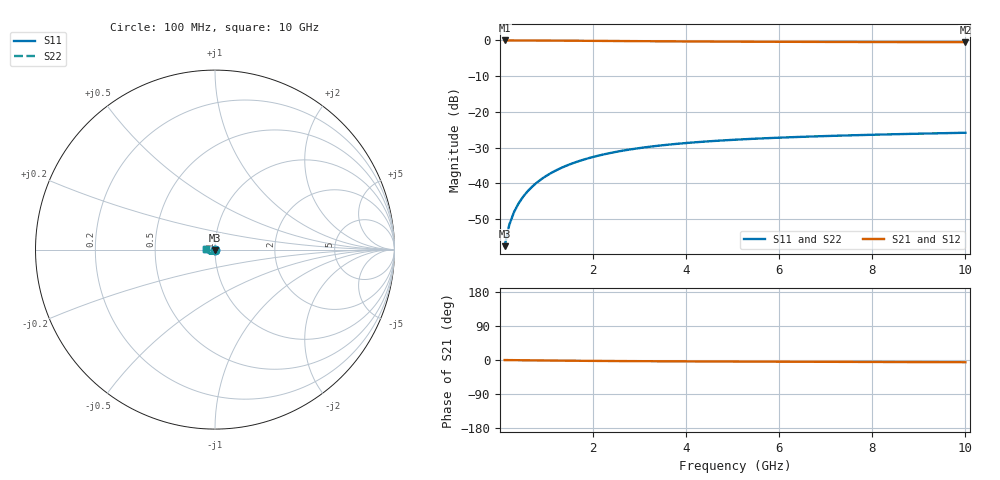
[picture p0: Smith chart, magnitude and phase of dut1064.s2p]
! Touchstone file exported from HFSS 2024.1.0
!  File:  C:/UserFiles/LocalFiles/RDL_TSV_Batchsim/temp_TSV1_1064_1780063885.aedt
!  Generated:  10:16:33 PM May 29, 2026
!  Design:  TSV1
!  Project:  temp_TSV1_1064_1780063885
!  Setup:  Setup1
!  Solution:  Sweep
! Variables:
!  dtsv = 9.43um
!  hbump = 3um
!  htsv = 93.49um
!  lrdl = 252.1521522um
!  p = 40
!  p1 = 48.96um
!  t = 500um
!  trdl = 3um
!  wrdl = 24.89489489um
# GHz S MA R 50.000000
! Terminal data exported
! Port[1] = TSV22_T1
! Port[2] = TSV22_T2
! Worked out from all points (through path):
!   100 points, 100 MHz to 10 GHz, reference 50 ohm
!   highest |S21| = 0.00 dB at 100 MHz (marker M1); lowest = -0.5 dB at 10 GHz (marker M2)
!   lowest |S11| = -57.5 dB at 100 MHz (marker M3), VSWR 1.00, Z = 50 - j0.132 ohm
!   |S11| at or under -10 dB: start of sweep to end of sweep
!   |S22| runs from -57.5 to -25.8 dB; largest |S21 - S12| = 9.2e-15
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0.1  0.001326 -83.9  0.9998 -0.1  0.9998 -0.1  0.001326 -83.9
! Gamma 0 0 0 0
! Port Impedance 50 0 50 0
0.2  0.002636 -89.5  0.9996 -0.3  0.9996 -0.3  0.002636 -89.5
0.3  0.003949 -92.5  0.9994 -0.4  0.9994 -0.4  0.003949 -92.5
0.4  0.005258 -94.9  0.9991 -0.5  0.9991 -0.5  0.005258 -94.9
0.5  0.006559 -97.0  0.9987 -0.7  0.9987 -0.7  0.006559 -97.0
0.6  0.007847 -99.1  0.9983 -0.8  0.9983 -0.8  0.007847 -99.1
0.7  0.00912 -101.0  0.9978 -0.9  0.9978 -0.9  0.00912 -101.0
0.8  0.01037 -102.9  0.9972 -1.1  0.9972 -1.1  0.01037 -102.9
0.9  0.01161 -104.7  0.9966 -1.2  0.9966 -1.2  0.01161 -104.7
1.1  0.01401 -108.3  0.9951 -1.4  0.9951 -1.4  0.01401 -108.3
1.4  0.01741 -113.3  0.9926 -1.8  0.9926 -1.8  0.01741 -113.3
1.6  0.01954 -116.5  0.9908 -2.0  0.9908 -2.0  0.01954 -116.5
1.8  0.02156 -119.6  0.9889 -2.2  0.9889 -2.2  0.02156 -119.6
2.1  0.02435 -124.0  0.986 -2.4  0.986 -2.4  0.02435 -124.0
2.5  0.02768 -129.5  0.982 -2.7  0.982 -2.7  0.02768 -129.5
2.9  0.03058 -134.5  0.9782 -3.0  0.9782 -3.0  0.03058 -134.5
3.4  0.03368 -140.2  0.9738 -3.3  0.9738 -3.3  0.03368 -140.2
4.2  0.03764 -148.1  0.9676 -3.7  0.9676 -3.7  0.03764 -148.1
5.1  0.04104 -155.7  0.962 -4.1  0.962 -4.1  0.04104 -155.7
6.7  0.04536 -166.7  0.9548 -4.7  0.9548 -4.7  0.04536 -166.7
8.4  0.04865 -176.0  0.9498 -5.3  0.9498 -5.3  0.04865 -176.0
10  0.05115 176.6  0.9465 -5.9  0.9465 -5.9  0.05115 176.6
